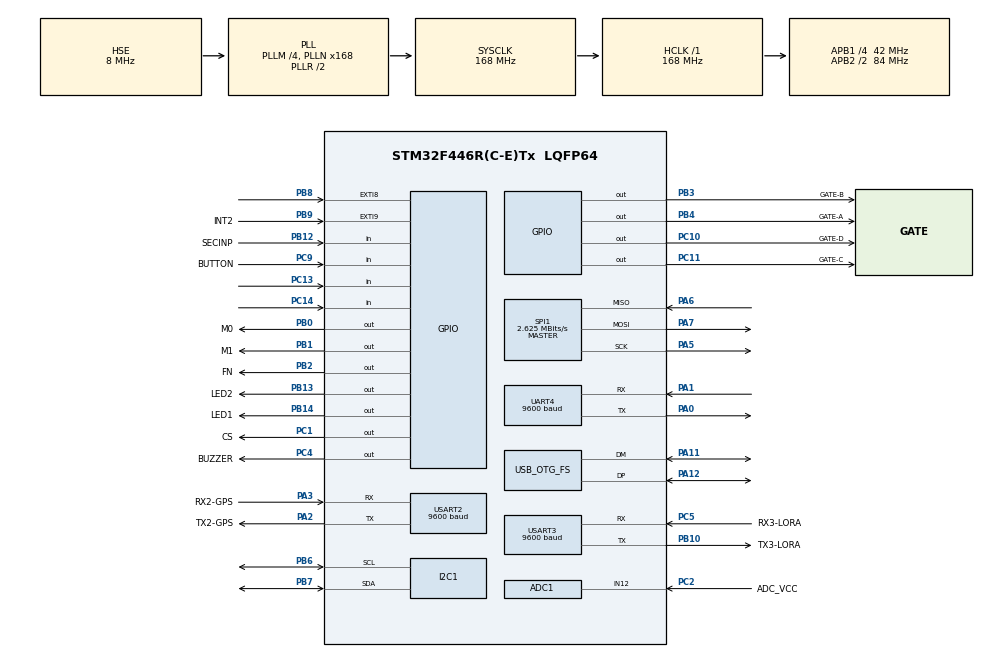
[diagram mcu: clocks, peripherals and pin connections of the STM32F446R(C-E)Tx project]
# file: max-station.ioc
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ADC1.Channel-11\#ChannelRegularConversion=ADC_CHANNEL_12
ADC1.NbrOfConversionFlag=1
ADC1.Rank-11\#ChannelRegularConversion=1
ADC1.SamplingTime-11\#ChannelRegularConversion=ADC_SAMPLETIME_3CYCLES
ADC1.master=1
I2C1.I2C_Mode=I2C_Standard
Mcu.Family=STM32F4
Mcu.Name=STM32F446R(C-E)Tx
Mcu.Package=LQFP64
NVIC.OTG_FS_IRQn=true\:0\:0\:false\:false\:true\:false\:true\:true
NVIC.PriorityGroup=NVIC_PRIORITYGROUP_4
NVIC.USART2_IRQn=true\:0\:0\:false\:false\:true\:true\:true\:true
NVIC.USART3_IRQn=true\:0\:0\:false\:false\:true\:true\:true\:true
PA0-WKUP.Mode=Asynchronous
PA0-WKUP.Signal=UART4_TX
PA1.Mode=Asynchronous
PA1.Signal=UART4_RX
PA11.Mode=Device_Only
PA11.Signal=USB_OTG_FS_DM
PA12.Mode=Device_Only
PA12.Signal=USB_OTG_FS_DP
PA13.Mode=Serial_Wire
PA13.Signal=SYS_JTMS-SWDIO
PA14.Mode=Serial_Wire
PA14.Signal=SYS_JTCK-SWCLK
PA2.GPIO_Label=TX2-GPS
PA2.Mode=Asynchronous
PA2.Signal=USART2_TX
PA3.GPIO_Label=RX2-GPS
PA3.Mode=Asynchronous
PA3.Signal=USART2_RX
PA5.Mode=Full_Duplex_Master
PA5.Signal=SPI1_SCK
PA6.Mode=Full_Duplex_Master
PA6.Signal=SPI1_MISO
PA7.Mode=Full_Duplex_Master
PA7.Signal=SPI1_MOSI
PB0.GPIO_Label=M0
PB0.Signal=GPIO_Output
PB1.GPIO_Label=M1
PB1.Signal=GPIO_Output
PB10.GPIO_Label=TX3-LORA
PB10.Mode=Asynchronous
PB10.Signal=USART3_TX
PB12.GPIO_Label=SECINP
PB12.GPIO_PuPd=GPIO_PULLUP
PB12.Signal=GPIO_Input
PB13.GPIO_Label=LED2
PB13.Signal=GPIO_Output
PB14.GPIO_Label=LED1
PB14.Signal=GPIO_Output
PB2.GPIO_Label=FN
PB2.Signal=GPIO_Output
PB3.GPIO_Label=GATE-B
PB3.Signal=GPIO_Output
PB4.GPIO_Label=GATE-A
PB4.Signal=GPIO_Output
PB6.Mode=I2C
PB6.Signal=I2C1_SCL
PB7.Mode=I2C
PB7.Signal=I2C1_SDA
PB8.GPIO_ModeDefaultEXTI=GPIO_MODE_IT_RISING
PB8.Signal=GPXTI8
PB9.GPIO_Label=INT2
PB9.GPIO_PuPd=GPIO_NOPULL
PB9.Signal=GPXTI9
PC1.GPIO_Label=CS
PC1.Signal=GPIO_Output
PC10.GPIO_Label=GATE-D
PC10.Signal=GPIO_Output
PC11.GPIO_Label=GATE-C
PC11.Signal=GPIO_Output
PC13.Signal=GPIO_Input
PC14-OSC32_IN.Signal=GPIO_Input
PC2.GPIO_Label=ADC_VCC
PC2.Signal=ADCx_IN12
PC4.GPIO_Label=BUZZER
PC4.Signal=GPIO_Output
PC5.GPIO_Label=RX3-LORA
PC5.Mode=Asynchronous
PC5.Signal=USART3_RX
PC9.GPIO_Label=BUTTON
PC9.GPIO_PuPd=GPIO_PULLUP
PC9.Signal=GPIO_Input
PH0-OSC_IN.Mode=HSE-External-Oscillator
PH0-OSC_IN.Signal=RCC_OSC_IN
PH1-OSC_OUT.Mode=HSE-External-Oscillator
PH1-OSC_OUT.Signal=RCC_OSC_OUT
ProjectManager.HeapSize=0x200
ProjectManager.StackSize=0x400
ProjectManager.TargetToolchain=STM32CubeIDE
RCC.AHBFreq_Value=168000000
RCC.APB1CLKDivider=RCC_HCLK_DIV4
RCC.APB1Freq_Value=42000000
RCC.APB1TimFreq_Value=84000000
RCC.APB2CLKDivider=RCC_HCLK_DIV2
RCC.APB2Freq_Value=84000000
RCC.APB2TimFreq_Value=168000000
RCC.CortexFreq_Value=168000000
RCC.HCLKFreq_Value=168000000
RCC.HSE_VALUE=8000000
RCC.PLLM=4
RCC.PLLN=168
RCC.PLLQ=7
RCC.SYSCLKFreq_VALUE=168000000
RCC.SYSCLKSource=RCC_SYSCLKSOURCE_PLLRCLK
RCC.USBFreq_Value=48000000
RCC.VCOOutputFreq_Value=336000000
SH.ADCx_IN12.0=ADC1_IN12,IN12
SPI1.BaudRatePrescaler=SPI_BAUDRATEPRESCALER_32
SPI1.CalculateBaudRate=2.625 MBits/s
SPI1.Direction=SPI_DIRECTION_2LINES
SPI1.Mode=SPI_MODE_MASTER
SPI1.VirtualType=VM_MASTER
UART4.BaudRate=9600
UART4.VirtualMode=Asynchronous
USART2.BaudRate=9600
USART2.VirtualMode=VM_ASYNC
USART3.BaudRate=9600
USART3.VirtualMode=VM_ASYNC
USB_DEVICE.APP_RX_DATA_SIZE-CDC_FS=1024
USB_DEVICE.APP_TX_DATA_SIZE-CDC_FS=1024
USB_DEVICE.CLASS_NAME_FS=CDC
USB_DEVICE.VirtualMode-CDC_FS=Cdc
USB_DEVICE.VirtualModeFS=Cdc_FS
USB_OTG_FS.VirtualMode=Device_Only
VP_FATFS_VS_Generic.Mode=User_defined
VP_USB_DEVICE_VS_USB_DEVICE_CDC_FS.Mode=CDC_FS
board=custom

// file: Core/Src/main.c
/* USER CODE BEGIN Header */
/**
  ******************************************************************************
  * @file           : main.c
  * @brief          : Main program body
  ******************************************************************************
  * @attention
  *
  * Copyright (c) 2024 STMicroelectronics.
  * All rights reserved.
  *
  * This software is licensed under terms that can be found in the LICENSE file
  * in the root directory of this software component.
  * If no LICENSE file comes with this software, it is provided AS-IS.
  *
  ******************************************************************************
  */
/* USER CODE END Header */
#include "main.h"
#include "fatfs.h"
#include "usb_device.h"

/* USER CODE BEGIN Includes */
#include "lwgps/lwgps.h"
#include "w25q.h"
#include <math.h>
#include "stdio.h"
#include "string.h"
/* USER CODE END Includes */

/* USER CODE BEGIN PD */
#define LORA_RX_BUFFER_SIZE 70
#define RX_BUFFER_SIZE 128
#define HYI_BUFFER_SIZE 77

#define TAKIM_ID 0
/* USER CODE END PD */

ADC_HandleTypeDef hadc1;

I2C_HandleTypeDef hi2c1;

SPI_HandleTypeDef hspi1;

UART_HandleTypeDef huart4;
UART_HandleTypeDef huart2;
UART_HandleTypeDef huart3;

/* USER CODE BEGIN PV */
uint8_t lora_rx_buffer[LORA_RX_BUFFER_SIZE];
uint8_t rx_index_lora=0;
uint8_t rx_data_lora=0;

uint8_t HYI_BUFFER[HYI_BUFFER_SIZE];

uint8_t gps_rx_buffer[RX_BUFFER_SIZE];
uint8_t rx_index=0;
uint8_t rx_data=0;

uint8_t Cmd_End[3] = {0xff,0xff,0xff};

const double PI = 4.0*atan(1.0);
const double radius_of_earth = 6378136.0474;
double _distance=0;
double _angle=0;

///////////////sustainer
uint8_t sustgpssatsinview=0;
float sustgpsaltitude=0;
float sustgpslatitude=0;
float sustgpslongitude=0;
float sustspeed=0;
float sustaltitude=0;
float susttemperature=0;
float sustaccx=0;
float sustaccy=0;
float sustaccz=0;
float sustroll=0;
float sustpitch=0;
char sustv4_battery=0;
uint8_t sustv4_mod=0;
uint8_t suststage_communication=0;

//egu
uint8_t EGU_ARIZA=0;
uint8_t EGU_AYRILMA_TESPIT=0;
uint8_t EGU_MOTOR_ATESLEME_TALEP_IN=0;
uint8_t EGU_STAGE_DURUM=0;
uint8_t EGU_UCUS_BASLADIMI=0;
uint8_t EGU_FITIL =0;

float EGU_BATTERY=0;
float EGU_IRTIFA=0;
float EGU_ANGLE=0;

////////////BOOOSTER

uint8_t boostgpssatsinview=0;
float boostgpsaltitude=0;
float boostgpslatitude=0;
float boostgpslongitude=0;
float boostspeed=0;
float boostaltitude=0;
float boosttemperature=0;
float boostaccx=0;
float boostaccy=0;
float boostaccz=0;
float boostroll=0;
float boostpitch=0;
uint8_t boostv4_battery=0;
uint8_t boostv4_mod=0;
uint8_t booststage_communication=0;

typedef struct
{	uint8_t satsinview;
	float gpsaltitude;
	float gpslatitude;
	float gpslongitude;
	float speed;
	float altitude;
	float temperature;
	float accx;
	float accy;
	float accz;
	float normal;
	float pitch;
	float battery;
	uint8_t mod;
	uint8_t communication;

}dataTypeDef;

dataTypeDef Payload, Booster , Sustainer;

///////////////////////////////////////////////////booster ekran
uint8_t b_altitude[8];
uint8_t b_temperature[5];
uint8_t b_speed[5];
uint8_t b_roll[5];
uint8_t b_pitch[5];
uint8_t b_latitude[6];
uint8_t b_longitude[6];

uint8_t enum_bs[9];
uint8_t enum_s[9];

char s_altitude[8];
uint8_t s_temperature[5];
uint8_t s_speed[5];
uint8_t s_roll[5];
uint8_t s_pitch[5];
uint8_t s_latitude[6];
uint8_t s_longitude[6];
uint8_t susbattary[2];
uint8_t suscom[2];

///////////////////////////////////////////////////
uint32_t tim1=0;
uint32_t takim_sayac;

uint8_t BUTTON_STATE=0;

uint8_t writeData[50] = {0,1,1,1};
uint8_t readData[50] = {0};

lwgps_t gps;

typedef union{
  float fVal;
  unsigned char array[4];
}float2unit8;

/* USER CODE END PV */

void SystemClock_Config(void);
static void MX_GPIO_Init(void);
static void MX_ADC1_Init(void);
static void MX_I2C1_Init(void);
static void MX_SPI1_Init(void);
static void MX_UART4_Init(void);
static void MX_USART2_UART_Init(void);
static void MX_USART3_UART_Init(void);
/* USER CODE BEGIN PFP */
void E220_CONFIG(uint8_t ADDH, uint8_t ADDL, uint8_t CHN, uint8_t MODE);
double distance_in_m(double lat1, double long1, double lat2, double long2);
double toRadians(double degree);
double calculateAngle(double lat1, double lon1, double lat2, double lon2);
void NEXTION_SendString (char *ID, char *string);
void NEXTION_SendNum (char *obj, int32_t num);
void NEXTION_SendFloat (char *obj, float num, int dp);
void HYI_BUFFER_Fill(void);
void Payload_union_converter(void);
void Enum_State_bs(void);
void Enum_State_s(void);
void Nextion_SendCommand(char* command);
void Nextion_SendFloatToTextbox(char* textbox_id, float value);
/* USER CODE END PFP */

/* USER CODE BEGIN 0 */
void HAL_UART_RxCpltCallback(UART_HandleTypeDef *huart)
{
	if(huart == &huart3){
	if(rx_data_lora != '\n'&& rx_index_lora < LORA_RX_BUFFER_SIZE){
	lora_rx_buffer[rx_index_lora++]=rx_data_lora;

	}
	else{
		rx_data_lora=0;
		rx_index_lora=0;

		}
HAL_UART_Receive_IT(&huart3, &rx_data_lora, 1);
	}

	if(huart == &huart2) {
			if( rx_data != '\n'&& rx_index < RX_BUFFER_SIZE) {
				gps_rx_buffer[rx_index++] = rx_data;
			} else {
				lwgps_process(&gps, gps_rx_buffer, rx_index+1);
				rx_index = 0;
				rx_data = 0;
			}
			HAL_UART_Receive_IT(&huart2, &rx_data, 1);
		}
}
/* USER CODE END 0 */

int main(void)
{

  /* MCU Configuration--------------------------------------------------------*/

  /* Reset of all peripherals, Initializes the Flash interface and the Systick. */
  HAL_Init();

  /* Configure the system clock */
  SystemClock_Config();

  /* Initialize all configured peripherals */
  MX_GPIO_Init();
  MX_ADC1_Init();
  MX_I2C1_Init();
  MX_SPI1_Init();
  MX_UART4_Init();
  MX_USART2_UART_Init();
  MX_USART3_UART_Init();
  MX_USB_DEVICE_Init();
  MX_FATFS_Init();
  /* USER CODE BEGIN 2 */
  HAL_UART_Receive_IT(&huart3, &rx_data_lora, 1);
  HAL_UART_Receive_IT(&huart2,&rx_data, 1);
  E220_CONFIG(0x8,0x2A,0x10,1);
  lwgps_init(&gps);

  tim1=HAL_GetTick();
  /* USER CODE END 2 */

  /* Infinite loop */
  /* USER CODE BEGIN WHILE */
  while (1)
  {
	 // HAL_UART_Receive(&huart2, lora_rx_buffer, 70 , 1000);

	  if(HAL_GetTick()-tim1>10)
{
		  HYI_BUFFER_Fill();

	  if(lora_rx_buffer[3]==2 && lora_rx_buffer[50] == 0x31){

		  Sustainer.satsinview=lora_rx_buffer[4];

			 float2unit8 f2u8_gpsalt;
				 for(uint8_t i=0;i<4;i++)
				 {
					 f2u8_gpsalt.array[i]=lora_rx_buffer[i+5];
					 HYI_BUFFER[10+i] =lora_rx_buffer[i+5]; // 10 11 12 13
				 }
				 Sustainer.gpsaltitude=f2u8_gpsalt.fVal;
			 float2unit8 f2u8_latitude;

				 for(uint8_t i=0;i<4;i++)
				 {
					f2u8_latitude.array[i]=lora_rx_buffer[i+9];
					HYI_BUFFER[14+i] =lora_rx_buffer[i+9]; // 14 15 16 17
				 }
				 Sustainer.gpslatitude=f2u8_latitude.fVal;

			 float2unit8 f2u8_longitude;
				 for(uint8_t i=0;i<4;i++)
				 {
					f2u8_longitude.array[i]=lora_rx_buffer[i+13];
					HYI_BUFFER[18+i] =lora_rx_buffer[i+13]; // 18 19 20 21
				 }
				 Sustainer.gpslongitude=f2u8_longitude.fVal;

			 float2unit8 f2u8_altitude;
				 for(uint8_t i=0;i<4;i++)
				 {
					f2u8_altitude.array[i]=lora_rx_buffer[i+17];
					HYI_BUFFER[6+i] =lora_rx_buffer[i+17]; // 6 7 8 9
				 }
				 Sustainer.altitude=f2u8_altitude.fVal;

			 float2unit8 f2u8_speed;

				 for(uint8_t i=0;i<4;i++)
				 {
					 f2u8_speed.array[i]=lora_rx_buffer[i+21];
				 }
				 Sustainer.speed=f2u8_speed.fVal;

			 float2unit8 f2u8_temp;
				 for(uint8_t i=0;i<4;i++)
				 {
					 f2u8_temp.array[i]=lora_rx_buffer[i+25];
				 }
				 Sustainer.temperature=f2u8_temp.fVal;

			 float2unit8 f2u8_accx;
				 for(uint8_t i=0;i<4;i++)
				 {
					 f2u8_accx.array[i]=lora_rx_buffer[i+29];
					 HYI_BUFFER[58+i]=lora_rx_buffer[i+29]; //
				 }
				 Sustainer.accx=f2u8_accx.fVal;

			float2unit8 f2u8_accy;
				 for(uint8_t i=0;i<4;i++)
				 {
					 f2u8_accy.array[i]=lora_rx_buffer[i+33];
					 HYI_BUFFER[62+i]=lora_rx_buffer[i+33];
				 }
				 Sustainer.accy=f2u8_accy.fVal;

			float2unit8 f2u8_accz;
			      for(uint8_t i=0;i<4;i++)
				 {
			    	  f2u8_accz.array[i]=lora_rx_buffer[i+37];
			    	  HYI_BUFFER[66+i]=lora_rx_buffer[i+37];
				 }
			      Sustainer.accz=f2u8_accz.fVal;

			float2unit8 f2u8_roll;
				  for(uint8_t i=0;i<4;i++)
				 {
					  f2u8_roll.array[i]=lora_rx_buffer[i+41];
				 }
				  Sustainer.normal=f2u8_roll.fVal;

			float2unit8 f2u8_pitch;
				  for(uint8_t i=0;i<4;i++)
				 {
					  f2u8_pitch.array[i]=lora_rx_buffer[i+45];
				 }
				  Sustainer.pitch=f2u8_pitch.fVal;

				  Sustainer.battery=lora_rx_buffer[49];
				  Sustainer.mod=lora_rx_buffer[50];
				  Sustainer.communication=lora_rx_buffer[51];

					 //EGU PART
					 EGU_ARIZA=lora_rx_buffer[52];
					 EGU_AYRILMA_TESPIT=lora_rx_buffer[53];

			float2unit8 f2u8_EGU_BATTERY;
					for(uint8_t i=0;i<4;i++)
				 {
						f2u8_EGU_BATTERY.array[i]=lora_rx_buffer[i+54];
				 }
					 EGU_BATTERY=f2u8_EGU_BATTERY.fVal;

			float2unit8 f2u8_EGU_ANGLE;
					for(uint8_t i=0;i<4;i++)
				{
						f2u8_EGU_ANGLE.array[i]=lora_rx_buffer[i+58];
				 }
					  EGU_ANGLE=f2u8_EGU_ANGLE.fVal;

			float2unit8 f2u8_EGU_IRTIFA;
					for(uint8_t i=0;i<4;i++)
				{
						f2u8_EGU_IRTIFA.array[i]=lora_rx_buffer[i+62];
				}
					  EGU_IRTIFA=f2u8_EGU_IRTIFA.fVal;

					  EGU_FITIL=lora_rx_buffer[53];

					  EGU_UCUS_BASLADIMI=lora_rx_buffer[66];
					  EGU_STAGE_DURUM=lora_rx_buffer[67];
					  EGU_MOTOR_ATESLEME_TALEP_IN=lora_rx_buffer[68];
}

	  if(lora_rx_buffer[3]==1 && lora_rx_buffer[50]==0x32){

		  Booster.satsinview=lora_rx_buffer[4];

			 float2unit8 f2u8_bgpsalt;
				 for(uint8_t i=0;i<4;i++)
				 {
					 f2u8_bgpsalt.array[i]=lora_rx_buffer[i+5];
					 HYI_BUFFER[34+i]=lora_rx_buffer[i+5]; // 34 35 36 37
				 }
				 Booster.gpsaltitude=f2u8_bgpsalt.fVal;
			 float2unit8 f2u8_blatitude;

				 for(uint8_t i=0;i<4;i++)
				 {
					 f2u8_blatitude.array[i]=lora_rx_buffer[i+9];
					 HYI_BUFFER[38+i]=lora_rx_buffer[i+9]; // 38 39 40 41
				 }
				 Booster.gpslatitude=f2u8_blatitude.fVal;

			 float2unit8 f2u8_blongitude;
				 for(uint8_t i=0;i<4;i++)
				 {
					 f2u8_blongitude.array[i]=lora_rx_buffer[i+13];
					 HYI_BUFFER[42+i]=lora_rx_buffer[i+13]; // 42 43 44 45
				 }
				 Booster.gpslongitude=f2u8_blongitude.fVal;

			 float2unit8 f2u8_baltitude;
				 for(uint8_t i=0;i<4;i++)
				 {
					f2u8_baltitude.array[i]=lora_rx_buffer[i+17];
				 }
				 Booster.altitude=f2u8_baltitude.fVal;

			 float2unit8 f2u8_bspeed;

				 for(uint8_t i=0;i<4;i++)
				 {
					 f2u8_bspeed.array[i]=lora_rx_buffer[i+21];
				 }
				 Booster.speed=f2u8_bspeed.fVal;

			 float2unit8 f2u8_btemp;
				 for(uint8_t i=0;i<4;i++)
				 {
					 f2u8_btemp.array[i]=lora_rx_buffer[i+25];
				 }
				 Booster.temperature=f2u8_btemp.fVal;

			 float2unit8 f2u8_baccx;
				 for(uint8_t i=0;i<4;i++)
				 {
					 f2u8_baccx.array[i]=lora_rx_buffer[i+29];
				 }
				 Booster.accx=f2u8_baccx.fVal;

			float2unit8 f2u8_baccy;
				 for(uint8_t i=0;i<4;i++)
				 {
					 f2u8_baccy.array[i]=lora_rx_buffer[i+33];
				 }
				 Booster.accy=f2u8_baccy.fVal;

			float2unit8 f2u8_baccz;
			      for(uint8_t i=0;i<4;i++)
				 {
			    	  f2u8_baccz.array[i]=lora_rx_buffer[i+37];
				 }
			      Booster.accz=f2u8_baccz.fVal;

			float2unit8 f2u8_broll;
				  for(uint8_t i=0;i<4;i++)
				 {
					  f2u8_broll.array[i]=lora_rx_buffer[i+41];
				 }
				  Booster.normal=f2u8_broll.fVal;

			float2unit8 f2u8_bpitch;
				  for(uint8_t i=0;i<4;i++)
				 {
					  f2u8_bpitch.array[i]=lora_rx_buffer[i+45];
				 }
				  Booster.pitch=f2u8_bpitch.fVal;

				  Booster.battery=lora_rx_buffer[49];
				  Booster.mod=lora_rx_buffer[50];
				  Booster.communication=lora_rx_buffer[51];

	  	  }

		  if(lora_rx_buffer[3]==3 && lora_rx_buffer[50]==0x33)
		  {

		  Payload.satsinview=lora_rx_buffer[4];

		  Payload_union_converter();

		  Payload.battery=lora_rx_buffer[49];
		  Payload.mod=lora_rx_buffer[50];
		  Payload.communication=lora_rx_buffer[51];

		  }

	  tim1=HAL_GetTick();
	  }

	  // EKRANA YAZMA
     	sprintf(b_altitude,"%4.3f",Booster.altitude);
     	sprintf(b_temperature,"%2.2f",Booster.temperature);
     	sprintf(b_speed,"%2.2f",Booster.speed);
     	sprintf(b_roll,"%2.2f",Booster.normal);
     	sprintf(b_pitch,"%2.2f",Booster.pitch);
     	sprintf(b_latitude,"%2.2f",Booster.gpslatitude);
     	sprintf(b_longitude,"%2.2f",Booster.gpslongitude);

     	sprintf(s_altitude,"%4.3f",Sustainer.altitude);
     	sprintf(s_temperature,"%2.2f",Sustainer.temperature);
     	sprintf(s_speed,"%2.2f",Sustainer.speed);
     	sprintf(s_roll,"%2.2f",Sustainer.normal);
     	sprintf(s_pitch,"%2.2f",Sustainer.pitch);
     	sprintf(s_latitude,"%2.2f",Sustainer.gpslatitude);
     	sprintf(s_longitude,"%2.2f",Sustainer.gpslongitude);
     	sprintf(susbattary,"%2.0f",Sustainer.battery);
    	sprintf(suscom,"%1.0f",Sustainer.communication);

        NEXTION_SendString("bs1", b_altitude);
        NEXTION_SendString("bs2", b_temperature);
        NEXTION_SendString("bs3", b_speed);
        NEXTION_SendString("bs4", b_roll);
        NEXTION_SendString("bs5", b_pitch);
        NEXTION_SendString("bs6", &boostgpssatsinview);
        NEXTION_SendString("bs7", b_latitude);
        NEXTION_SendString("bs8", b_longitude);
      //  NEXTION_SendString("bs9", &Booster.battery);
        NEXTION_SendString("t56", &Booster.communication);

       // Nextion_SendFloatToTextbox("s1", Sustainer.altitude);
        NEXTION_SendString("s1", s_altitude);
        NEXTION_SendString("s2", s_temperature);
        NEXTION_SendString("s3", s_speed);
        NEXTION_SendString("s4", s_roll);
        NEXTION_SendString("s5", s_pitch);
        NEXTION_SendString("s6", &sustgpssatsinview);
        NEXTION_SendString("s7", s_latitude);
        NEXTION_SendString("s8", s_longitude);
        NEXTION_SendString("s9", susbattary);
        NEXTION_SendString("t57", suscom);

        Enum_State_bs();
        Enum_State_s();
     //   NEXTION_SendString("t58", &EGU_MOTOR_ATESLEME_TALEP_IN);

        NEXTION_SendString("t4", &gps.hours);
        NEXTION_SendString("t6", &gps.minutes);
        NEXTION_SendString("t8", &gps.seconds);

    /* USER CODE END WHILE */

  }
}

void SystemClock_Config(void)
{
  RCC_OscInitTypeDef RCC_OscInitStruct = {0};
  RCC_ClkInitTypeDef RCC_ClkInitStruct = {0};

  /** Configure the main internal regulator output voltage
  */
  __HAL_RCC_PWR_CLK_ENABLE();
  __HAL_PWR_VOLTAGESCALING_CONFIG(PWR_REGULATOR_VOLTAGE_SCALE1);

  /** Initializes the RCC Oscillators according to the specified parameters
  * in the RCC_OscInitTypeDef structure.
  */
  RCC_OscInitStruct.OscillatorType = RCC_OSCILLATORTYPE_HSE;
  RCC_OscInitStruct.HSEState = RCC_HSE_ON;
  RCC_OscInitStruct.PLL.PLLState = RCC_PLL_ON;
  RCC_OscInitStruct.PLL.PLLSource = RCC_PLLSOURCE_HSE;
  RCC_OscInitStruct.PLL.PLLM = 4;
  RCC_OscInitStruct.PLL.PLLN = 168;
  RCC_OscInitStruct.PLL.PLLP = RCC_PLLP_DIV2;
  RCC_OscInitStruct.PLL.PLLQ = 7;
  RCC_OscInitStruct.PLL.PLLR = 2;
  if (HAL_RCC_OscConfig(&RCC_OscInitStruct) != HAL_OK)
  {
    Error_Handler();
  }

  /** Initializes the CPU, AHB and APB buses clocks
  */
  RCC_ClkInitStruct.ClockType = RCC_CLOCKTYPE_HCLK|RCC_CLOCKTYPE_SYSCLK
                              |RCC_CLOCKTYPE_PCLK1|RCC_CLOCKTYPE_PCLK2;
  RCC_ClkInitStruct.SYSCLKSource = RCC_SYSCLKSOURCE_PLLRCLK;
  RCC_ClkInitStruct.AHBCLKDivider = RCC_SYSCLK_DIV1;
  RCC_ClkInitStruct.APB1CLKDivider = RCC_HCLK_DIV4;
  RCC_ClkInitStruct.APB2CLKDivider = RCC_HCLK_DIV2;

  if (HAL_RCC_ClockConfig(&RCC_ClkInitStruct, FLASH_LATENCY_5) != HAL_OK)
  {
    Error_Handler();
  }
}

static void MX_ADC1_Init(void)
{

  ADC_ChannelConfTypeDef sConfig = {0};

  /** Configure the global features of the ADC (Clock, Resolution, Data Alignment and number of conversion)
  */
  hadc1.Instance = ADC1;
  hadc1.Init.ClockPrescaler = ADC_CLOCK_SYNC_PCLK_DIV4;
  hadc1.Init.Resolution = ADC_RESOLUTION_12B;
  hadc1.Init.ScanConvMode = DISABLE;
  hadc1.Init.ContinuousConvMode = DISABLE;
  hadc1.Init.DiscontinuousConvMode = DISABLE;
  hadc1.Init.ExternalTrigConvEdge = ADC_EXTERNALTRIGCONVEDGE_NONE;
  hadc1.Init.ExternalTrigConv = ADC_SOFTWARE_START;
  hadc1.Init.DataAlign = ADC_DATAALIGN_RIGHT;
  hadc1.Init.NbrOfConversion = 1;
  hadc1.Init.DMAContinuousRequests = DISABLE;
  hadc1.Init.EOCSelection = ADC_EOC_SINGLE_CONV;
  if (HAL_ADC_Init(&hadc1) != HAL_OK)
  {
    Error_Handler();
  }

  /** Configure for the selected ADC regular channel its corresponding rank in the sequencer and its sample time.
  */
  sConfig.Channel = ADC_CHANNEL_12;
  sConfig.Rank = 1;
  sConfig.SamplingTime = ADC_SAMPLETIME_3CYCLES;
  if (HAL_ADC_ConfigChannel(&hadc1, &sConfig) != HAL_OK)
  {
    Error_Handler();
  }

}

static void MX_I2C1_Init(void)
{

  hi2c1.Instance = I2C1;
  hi2c1.Init.ClockSpeed = 100000;
  hi2c1.Init.DutyCycle = I2C_DUTYCYCLE_2;
  hi2c1.Init.OwnAddress1 = 0;
  hi2c1.Init.AddressingMode = I2C_ADDRESSINGMODE_7BIT;
  hi2c1.Init.DualAddressMode = I2C_DUALADDRESS_DISABLE;
  hi2c1.Init.OwnAddress2 = 0;
  hi2c1.Init.GeneralCallMode = I2C_GENERALCALL_DISABLE;
  hi2c1.Init.NoStretchMode = I2C_NOSTRETCH_DISABLE;
  if (HAL_I2C_Init(&hi2c1) != HAL_OK)
  {
    Error_Handler();
  }

}

static void MX_SPI1_Init(void)
{

  /* SPI1 parameter configuration*/
  hspi1.Instance = SPI1;
  hspi1.Init.Mode = SPI_MODE_MASTER;
  hspi1.Init.Direction = SPI_DIRECTION_2LINES;
  hspi1.Init.DataSize = SPI_DATASIZE_8BIT;
  hspi1.Init.CLKPolarity = SPI_POLARITY_LOW;
  hspi1.Init.CLKPhase = SPI_PHASE_1EDGE;
  hspi1.Init.NSS = SPI_NSS_SOFT;
  hspi1.Init.BaudRatePrescaler = SPI_BAUDRATEPRESCALER_32;
  hspi1.Init.FirstBit = SPI_FIRSTBIT_MSB;
  hspi1.Init.TIMode = SPI_TIMODE_DISABLE;
  hspi1.Init.CRCCalculation = SPI_CRCCALCULATION_DISABLE;
  hspi1.Init.CRCPolynomial = 10;
  if (HAL_SPI_Init(&hspi1) != HAL_OK)
  {
    Error_Handler();
  }

}

static void MX_UART4_Init(void)
{

  huart4.Instance = UART4;
  huart4.Init.BaudRate = 9600;
  huart4.Init.WordLength = UART_WORDLENGTH_8B;
  huart4.Init.StopBits = UART_STOPBITS_1;
  huart4.Init.Parity = UART_PARITY_NONE;
  huart4.Init.Mode = UART_MODE_TX_RX;
  huart4.Init.HwFlowCtl = UART_HWCONTROL_NONE;
  huart4.Init.OverSampling = UART_OVERSAMPLING_16;
  if (HAL_UART_Init(&huart4) != HAL_OK)
  {
    Error_Handler();
  }

}

static void MX_USART2_UART_Init(void)
{

  huart2.Instance = USART2;
  huart2.Init.BaudRate = 9600;
  huart2.Init.WordLength = UART_WORDLENGTH_8B;
  huart2.Init.StopBits = UART_STOPBITS_1;
  huart2.Init.Parity = UART_PARITY_NONE;
  huart2.Init.Mode = UART_MODE_TX_RX;
  huart2.Init.HwFlowCtl = UART_HWCONTROL_NONE;
  huart2.Init.OverSampling = UART_OVERSAMPLING_16;
  if (HAL_UART_Init(&huart2) != HAL_OK)
  {
    Error_Handler();
  }

}

static void MX_USART3_UART_Init(void)
{

  huart3.Instance = USART3;
  huart3.Init.BaudRate = 9600;
  huart3.Init.WordLength = UART_WORDLENGTH_8B;
  huart3.Init.StopBits = UART_STOPBITS_1;
  huart3.Init.Parity = UART_PARITY_NONE;
  huart3.Init.Mode = UART_MODE_TX_RX;
  huart3.Init.HwFlowCtl = UART_HWCONTROL_NONE;
  huart3.Init.OverSampling = UART_OVERSAMPLING_16;
  if (HAL_UART_Init(&huart3) != HAL_OK)
  {
    Error_Handler();
  }

}

static void MX_GPIO_Init(void)
{
  GPIO_InitTypeDef GPIO_InitStruct = {0};

  /* GPIO Ports Clock Enable */
  __HAL_RCC_GPIOC_CLK_ENABLE();
  __HAL_RCC_GPIOH_CLK_ENABLE();
  __HAL_RCC_GPIOA_CLK_ENABLE();
  __HAL_RCC_GPIOB_CLK_ENABLE();

  /*Configure GPIO pin Output Level */
  HAL_GPIO_WritePin(GPIOC, CS_Pin|BUZZER_Pin|GATE_D_Pin|GATE_C_Pin, GPIO_PIN_RESET);

  /*Configure GPIO pin Output Level */
  HAL_GPIO_WritePin(GPIOB, M0_Pin|M1_Pin|FN_Pin|LED2_Pin
                          |LED1_Pin|GATE_B_Pin|GATE_A_Pin, GPIO_PIN_RESET);

  /*Configure GPIO pins : PC13 PC14 */
  GPIO_InitStruct.Pin = GPIO_PIN_13|GPIO_PIN_14;
  GPIO_InitStruct.Mode = GPIO_MODE_INPUT;
  GPIO_InitStruct.Pull = GPIO_NOPULL;
  HAL_GPIO_Init(GPIOC, &GPIO_InitStruct);

  /*Configure GPIO pins : CS_Pin BUZZER_Pin GATE_D_Pin GATE_C_Pin */
  GPIO_InitStruct.Pin = CS_Pin|BUZZER_Pin|GATE_D_Pin|GATE_C_Pin;
  GPIO_InitStruct.Mode = GPIO_MODE_OUTPUT_PP;
  GPIO_InitStruct.Pull = GPIO_NOPULL;
  GPIO_InitStruct.Speed = GPIO_SPEED_FREQ_LOW;
  HAL_GPIO_Init(GPIOC, &GPIO_InitStruct);

  /*Configure GPIO pins : M0_Pin M1_Pin FN_Pin LED2_Pin
                           LED1_Pin GATE_B_Pin GATE_A_Pin */
  GPIO_InitStruct.Pin = M0_Pin|M1_Pin|FN_Pin|LED2_Pin
                          |LED1_Pin|GATE_B_Pin|GATE_A_Pin;
  GPIO_InitStruct.Mode = GPIO_MODE_OUTPUT_PP;
  GPIO_InitStruct.Pull = GPIO_NOPULL;
  GPIO_InitStruct.Speed = GPIO_SPEED_FREQ_LOW;
  HAL_GPIO_Init(GPIOB, &GPIO_InitStruct);

  /*Configure GPIO pin : SECINP_Pin */
  GPIO_InitStruct.Pin = SECINP_Pin;
  GPIO_InitStruct.Mode = GPIO_MODE_INPUT;
  GPIO_InitStruct.Pull = GPIO_PULLUP;
  HAL_GPIO_Init(SECINP_GPIO_Port, &GPIO_InitStruct);

  /*Configure GPIO pin : BUTTON_Pin */
  GPIO_InitStruct.Pin = BUTTON_Pin;
  GPIO_InitStruct.Mode = GPIO_MODE_INPUT;
  GPIO_InitStruct.Pull = GPIO_PULLUP;
  HAL_GPIO_Init(BUTTON_GPIO_Port, &GPIO_InitStruct);

  /*Configure GPIO pins : PB8 INT2_Pin */
  GPIO_InitStruct.Pin = GPIO_PIN_8|INT2_Pin;
  GPIO_InitStruct.Mode = GPIO_MODE_IT_RISING;
  GPIO_InitStruct.Pull = GPIO_NOPULL;
  HAL_GPIO_Init(GPIOB, &GPIO_InitStruct);

}

/* USER CODE BEGIN 4 */
void E220_CONFIG(uint8_t ADDH, uint8_t ADDL, uint8_t CHN, uint8_t MODE)
{
    HAL_GPIO_WritePin(GPIOB, GPIO_PIN_2, SET);
    HAL_GPIO_WritePin(GPIOB, GPIO_PIN_1, SET);
    HAL_Delay(50);

    char cfg_buff[8] = {0}; // E220 için 8 elemanlı bir dizi kullanıyoruz
    enum {Transparent, Fixed} mode;
    mode = MODE;

    cfg_buff[0] = ADDH;
    cfg_buff[1] = ADDL;
    cfg_buff[2] = 0x62;
    cfg_buff[3] = 0x00;
    cfg_buff[4] = CHN;

    switch(mode){
        case Transparent:
            cfg_buff[5] = 0x00;  // opsiyon
            break;
        case Fixed:
            cfg_buff[5] = 0x11;
            break;
        default:
            cfg_buff[5] = 0x11;
     }

     cfg_buff[6] = 0x00;
     cfg_buff[7] = 0x00;

    HAL_UART_Transmit(&huart3, (uint8_t*) cfg_buff, 8, 1000);

    HAL_Delay(25);
    HAL_GPIO_WritePin(GPIOB, GPIO_PIN_2, RESET);
    HAL_GPIO_WritePin(GPIOB, GPIO_PIN_1, RESET);
    HAL_Delay(25);
}
double distance_in_m(double lat1, double long1, double lat2, double long2) {

    double dlat1=lat1*(PI/180);

    double dlong1=long1*(PI/180);
    double dlat2=lat2*(PI/180);
    double dlong2=long2*(PI/180);

    double dLong=dlong1-dlong2;
    double dLat=dlat1-dlat2;

    double aHarv= pow(sin(dLat/2.0),2.0)+cos(dlat1)*cos(dlat2)*pow(sin(dLong/2),2);
    double cHarv=2*atan2(sqrt(aHarv),sqrt(1.0-aHarv));

    double distance=radius_of_earth*cHarv;
    return (distance);
    }
double toRadians(double degree) {
    return (degree * PI / 180.0);
}

double calculateAngle(double lat1, double lon1, double lat2, double lon2){
    double lat1_rad = toRadians(lat1);
    double lat2_rad = toRadians(lat2);
    double delta_lon = toRadians(lon2 - lon1);
    double y = sin(delta_lon) * cos(lat2_rad);
    double x = cos(lat1_rad) * sin(lat2_rad) - sin(lat1_rad) * cos(lat2_rad) * cos(delta_lon);
    double angle_rad = atan2(y, x);
    double angle_deg = angle_rad * 180.0 / PI;
    return angle_deg;
}

void NEXTION_SendString (char *ID, char *string)
{
	char buf[50];
	int len = sprintf (buf, "%s.txt=\"%s\"", ID, string);
	HAL_UART_Transmit(&huart4, (uint8_t *)buf, len, 1000);
	HAL_UART_Transmit(&huart4, Cmd_End, 3, 100);
}

void NEXTION_SendNum (char *obj, int32_t num)
{
	uint8_t *buffer = malloc(30*sizeof (char));
	int len = sprintf ((char *)buffer, "%s.val=%ld", obj, num);
	HAL_UART_Transmit(&huart4, buffer, len, 1000);
	HAL_UART_Transmit(&huart4, Cmd_End, 3, 100);
	free(buffer);
}

void NEXTION_SendFloat (char *obj, float num, int dp)
{
	// convert to the integer
	int32_t number = num*(pow(10,dp));

	uint8_t *buffer = malloc(30*sizeof (char));
	int len = sprintf ((char *)buffer, "%s.vvs1=%d", obj, dp);
	HAL_UART_Transmit(&huart4, buffer, len, 1000);
	HAL_UART_Transmit(&huart4, Cmd_End, 3, 100);

	len = sprintf ((char *)buffer, "%s.val=%ld", obj, number);
	HAL_UART_Transmit(&huart4, buffer, len, 1000);
	HAL_UART_Transmit(&huart4, Cmd_End, 3, 100);
	free(buffer);
}

void Nextion_SendCommand(char* command) {
    HAL_UART_Transmit(&huart4, (uint8_t*)command, strlen(command), 100);
    uint8_t end_cmd[] = {0xFF, 0xFF, 0xFF}; // Nextion end of command
    HAL_UART_Transmit(&huart4, end_cmd, 3, 100);
}

// Function to send a float value to a Nextion text box
void Nextion_SendFloatToTextbox(char* textbox_id, float value) {
    char command[50];
    char value_str[20];

    // Convert the float to a string
    snprintf(value_str, sizeof(value_str), "%.2f", value); // Adjust the format as needed

    // Format the command
    snprintf(command, sizeof(command), "%s.txt=\"%s\"", textbox_id, value_str);

    // Send the command to the Nextion display
    Nextion_SendCommand(command);
}

void HYI_BUFFER_Fill()
{
	HYI_BUFFER[0] =0xFF;
	HYI_BUFFER[1] =0xFF;
	HYI_BUFFER[3] =0x54;
	HYI_BUFFER[4] =TAKIM_ID;
	HYI_BUFFER[5] =takim_sayac;
	HYI_BUFFER[74]= EGU_AYRILMA_TESPIT;
	HYI_BUFFER[75]= 0; // CRC
	HYI_BUFFER[76]= 0x0D;
	HYI_BUFFER[77]= 0x0A;

}
void Payload_union_converter(void)
{
	 float2unit8 f2u8;
			 for(uint8_t i=0;i<4;i++)
			 {
				 f2u8.array[i]=lora_rx_buffer[i+5];
				 HYI_BUFFER[34+i]=lora_rx_buffer[i+5]; // 34 35 36 37
			 }
			 Payload.gpsaltitude=f2u8.fVal;

			 for(uint8_t i=0;i<4;i++)
			 {
				 f2u8.array[i]=lora_rx_buffer[i+9];
				 HYI_BUFFER[38+i]=lora_rx_buffer[i+9]; // 38 39 40 41
			 }
			 Payload.gpslatitude=f2u8.fVal;

			 for(uint8_t i=0;i<4;i++)
			 {
				 f2u8.array[i]=lora_rx_buffer[i+13];
				 HYI_BUFFER[42+i]=lora_rx_buffer[i+13]; // 42 43 44 45
			 }
			 Payload.gpslongitude=f2u8.fVal;

			 for(uint8_t i=0;i<4;i++)
			 {
				 f2u8.array[i]=lora_rx_buffer[i+17];
			 }
			 Payload.altitude=f2u8.fVal;

			 for(uint8_t i=0;i<4;i++)
			 {
				 f2u8.array[i]=lora_rx_buffer[i+21];
			 }
			 Payload.speed=f2u8.fVal;

			 for(uint8_t i=0;i<4;i++)
			 {
				 f2u8.array[i]=lora_rx_buffer[i+25];
			 }
			 Payload.temperature=f2u8.fVal;

			 for(uint8_t i=0;i<4;i++)
			 {
				 f2u8.array[i]=lora_rx_buffer[i+29];
			 }
			 Payload.accx=f2u8.fVal;

			 for(uint8_t i=0;i<4;i++)
			 {
				 f2u8.array[i]=lora_rx_buffer[i+33];
			 }
			 Payload.accy=f2u8.fVal;

		      for(uint8_t i=0;i<4;i++)
			 {
		    	  f2u8.array[i]=lora_rx_buffer[i+37];
			 }
		      Payload.accz=f2u8.fVal;

			  for(uint8_t i=0;i<4;i++)
			 {
				  f2u8.array[i]=lora_rx_buffer[i+41];
			 }
			  Payload.normal=f2u8.fVal;

			  for(uint8_t i=0;i<4;i++)
			 {
				  f2u8.array[i]=lora_rx_buffer[i+45];
			 }
			  Payload.pitch=f2u8.fVal;
}
void Enum_State_bs(void){

    switch(boostv4_mod){

    case 1:
    	enum_bs[0]='R';
    	enum_bs[1]='A';
    	enum_bs[2]='M';
    	enum_bs[3]='P';
    	enum_bs[4]='A';
    	enum_bs[5]='\0';
    	enum_bs[6]='\0';
    	enum_bs[7]='\0';
    	enum_bs[8]='\0';
    	break;

    case 2:
    	enum_bs[0]='U';
    	enum_bs[1]='C';
    	enum_bs[2]='U';
    	enum_bs[3]='S';
    	enum_bs[4]='\0';
    	enum_bs[5]='\0';
    	enum_bs[6]='\0';
    	enum_bs[7]='\0';
    	enum_s[8]='\0';
    	break;
    case 3:
    	enum_bs[0]='B';
    	enum_bs[1]='U';
    	enum_bs[2]='R';
    	enum_bs[3]='N';
    	enum_bs[4]='O';
    	enum_bs[5]='U';
    	enum_bs[6]='T';
    	enum_bs[7]='\0';
    	enum_bs[8]='\0';
    	break;
    case 4:
    	enum_bs[0]='A';
    	enum_bs[1]='Y';
    	enum_bs[2]='I';
    	enum_bs[3]='R';
    	enum_bs[4]='\0';
    	enum_bs[5]='\0';
    	enum_bs[6]='\0';
    	enum_bs[7]='\0';
    	enum_bs[8]='\0';
    	break;
    case 5:
    	enum_bs[0]='A';
    	enum_bs[1]='Y';
    	enum_bs[2]='R';
    	enum_bs[3]='I';
    	enum_bs[4]='L';
    	enum_bs[5]='D';
    	enum_bs[6]='I';
    	enum_bs[7]='?';
    	enum_bs[8]='\0';
    	break;
    case 6:
    	enum_bs[0]='A';
    	enum_bs[1]='Y';
    	enum_bs[2]='R';
    	enum_bs[3]='I';
    	enum_bs[4]='L';
    	enum_bs[5]='D';
    	enum_bs[6]='I';
    	enum_bs[7]='\0';
    	enum_bs[8]='\0';
    	break;
    case 7:
    	enum_bs[0]='A';
    	enum_bs[1]='Y';
    	enum_bs[2]='R';
    	enum_bs[3]='I';
    	enum_bs[4]='L';
    	enum_bs[5]='M';
    	enum_bs[6]='A';
    	enum_bs[7]='D';
    	enum_bs[8]='I';
    	break;
    case 8:
    	enum_bs[0]='F';
    	enum_bs[1]='I';
    	enum_bs[2]='N';
    	enum_bs[3]='I';
    	enum_bs[4]='S';
    	enum_bs[5]='H';
    	enum_bs[6]='\0';
    	enum_bs[7]='\0';
    	enum_bs[8]='\0';
    	break;

    	 }

    NEXTION_SendString("bs10", &enum_bs);

}
void Enum_State_s(void){

    switch(sustv4_mod){

    case 1:
    	enum_s[0]='R';
    	enum_s[1]='A';
    	enum_s[2]='M';
    	enum_s[3]='P';
    	enum_s[4]='A';
    	enum_s[5]='\0';
    	enum_s[6]='\0';
    	enum_s[7]='\0';
    	enum_s[8]='\0';
    	break;

    case 2:
    	enum_s[0]='U';
    	enum_s[1]='C';
    	enum_s[2]='U';
    	enum_s[3]='S';
    	enum_s[4]='\0';
    	enum_s[5]='\0';
    	enum_s[6]='\0';
    	enum_s[7]='\0';
    	enum_s[8]='\0';
    	break;
    case 3:
    	enum_s[0]='A';
    	enum_s[1]='Y';
    	enum_s[2]='R';
    	enum_s[3]='I';
    	enum_s[4]='L';
    	enum_s[5]='D';
    	enum_s[6]='I';
    	enum_s[7]='?';
    	enum_s[8]='\0';
    	break;
    case 4:
    	enum_s[0]='A';
    	enum_s[1]='Y';
    	enum_s[2]='R';
    	enum_s[3]='I';
    	enum_s[4]='L';
    	enum_s[5]='D';
    	enum_s[6]='I';
    	enum_s[7]='\0';
    	enum_s[8]='\0';
    	break;
    case 5:
    	enum_s[0]='A';
    	enum_s[1]='P';
    	enum_s[2]='O';
    	enum_s[3]='G';
    	enum_s[4]='E';
    	enum_s[5]='E';
    	enum_s[6]='\0';
    	enum_s[7]='\0';
    	enum_s[8]='\0';
    	break;
    case 6:
    	enum_s[0]='M';
    	enum_s[1]='A';
    	enum_s[2]='I';
    	enum_s[3]='N';
    	enum_s[4]='\0';
    	enum_s[5]='\0';
    	enum_s[6]='\0';
    	enum_s[7]='\0';
    	enum_s[8]='\0';
    	break;
    case 7:
    	enum_s[0]='F';
    	enum_s[1]='I';
    	enum_s[2]='N';
    	enum_s[3]='I';
    	enum_s[4]='S';
    	enum_s[5]='H';
    	enum_s[6]='\0';
    	enum_s[7]='\0';
    	enum_s[8]='\0';
    	break;

    	 }

    NEXTION_SendString("s10", &enum_s);

}
/* USER CODE END 4 */

void Error_Handler(void)
{
  __disable_irq();
  while (1)
  {
  }
}
